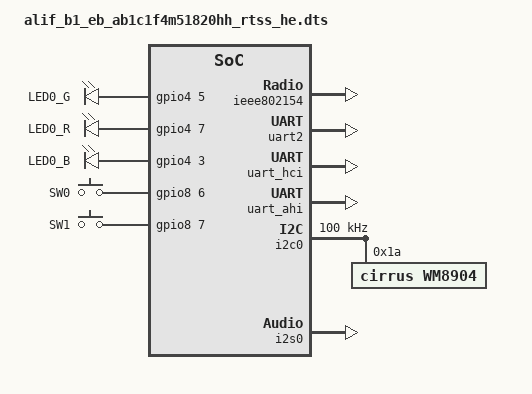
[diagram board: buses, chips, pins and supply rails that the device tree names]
/dts-v1/;

#include <alif/balletto/b1/ab1c1f4m51820hh.dtsi>
#include "balletto-eb-pinctrl.dtsi"
#include <dt-bindings/i2c/i2c.h>
#include <dt-bindings/gpio/gpio.h>

#define I2S0_IRQ_NUM  141
#define I2S0_IRQ_PRIO 3

#define LPI2S_IRQ_NUM  48
#define LPI2S_IRQ_PRIO 3

#define I2S0_DMA_RX_CH  2
#define I2S0_DMA_RX_REQ 24
#define I2S0_DMA_TX_CH  3
#define I2S0_DMA_TX_REQ 28

#define LPI2S_DMA_RX_CH  4
#define LPI2S_DMA_RX_REQ 14
#define LPI2S_DMA_TX_CH  5
#define LPI2S_DMA_TX_REQ 15

#define AUDIO_DMA_ENABLED 1
#define MIC_DMA_ENABLED 1

/ {
	compatible = "arm,alif-b1-eb-ab1c1f4m51820hh-rtss-he";
	#address-cells = <1>;
	#size-cells = <1>;
};

&ieee802154 {
	status = "okay";
};
&{/} {
	chosen {
		zephyr,console = &uart2;
		zephyr,shell-uart = &uart2;
		zephyr,bt-hci = &alif_hci_uart;
		zephyr,hci-uart = &uart_hci;
		zephyr,uart-mcumgr = &uart2;
		zephyr,entropy = &rng;
	};

	aliases {
		led0 = &aled0;
		led1 = &aled1;
		led2 = &aled2;
		sw0 = &button0;
		sw1 = &button1;
		watchdog0 = &wdog0;
		audio-codec = &wm8904;
		i2s-input = &i2s0;
	};

	leds {
		compatible = "gpio-leds";

		aled0: led_0 {
			gpios = <&gpio4 5 0>;
			label = "LED0_G";
		};

		aled1: led_1 {
			gpios = <&gpio4 7 0>;
			label = "LED0_R";
		};

		aled2: led_2 {
			gpios = <&gpio4 3 0>;
			label = "LED0_B";
		};
	};

	buttons {
		compatible = "gpio-keys";

		button0: button_0 {
			gpios = < &gpio8 6 0 >;
			label = "SW0";
		};

		button1: button_1 {
			gpios = < &gpio8 7 0 >;
			label = "SW1";
		};
	};
};

&uart2 {
	status = "okay";
};

&uart_hci {
	clock-frequency = <160000000>;
	dmas = <&dma2 HCI_UART_DMA_RX_CH HCI_UART_DMA_RX_REQ>,
	       <&dma2 HCI_UART_DMA_TX_CH HCI_UART_DMA_TX_REQ>;
	dma-names = "rx", "tx";
	status = "okay";
};

&uart_ahi {
	clock-frequency = <160000000>;
	pinctrl-0 = <&pinctrl_ahi_trace>;
	pinctrl-names = "default";
	dmas = <&dma2 AHI_UART_DMA_RX_CH AHI_UART_DMA_RX_REQ>,
	       <&dma2 AHI_UART_DMA_TX_CH AHI_UART_DMA_TX_REQ>;
	dma-names = "rx", "tx";
	status = "okay";
};

&dma2 {
	status = "okay";
	dma-channels = <8>;
	interrupts = <0 3>, <1 3>, <2 3>, <3 3>, <4 3>, <5 3>,
		     <6 3>, <7 3>, <32 3>;
	interrupt-names = "channel0", "channel1",
			  "channel2", "channel3",
			  "channel4", "channel5",
			  "channel6", "channel7",
			  "abort";
};

&i2c0 {
	clock-frequency = <I2C_BITRATE_STANDARD>;
	status = "okay";

	wm8904: wm8904@1a {
		compatible = "cirrus,wm8904";
		reg = <0x1a>;
		status = "okay";
	};
};

&i2s0 {
	/delete-property/ clock-frequency;
	/delete-property/ driver-instance;
	compatible = "alif,i2s-sync";
	interrupts = <I2S0_IRQ_NUM I2S0_IRQ_PRIO>;
	bit-depth = <16>;
	sample-rate = <48000>;
	status = "okay";
#if AUDIO_DMA_ENABLED
	dmas = <&dma2 I2S0_DMA_RX_CH I2S0_DMA_RX_REQ>,
	       <&dma2 I2S0_DMA_TX_CH I2S0_DMA_TX_REQ>;
	dma-names = "rxdma", "txdma";
#endif
};

/* Enable leds */
&gpio4 {
	status = "okay";
};

/* Enable SW buttons */
&gpio8 {
	status = "okay";
};
